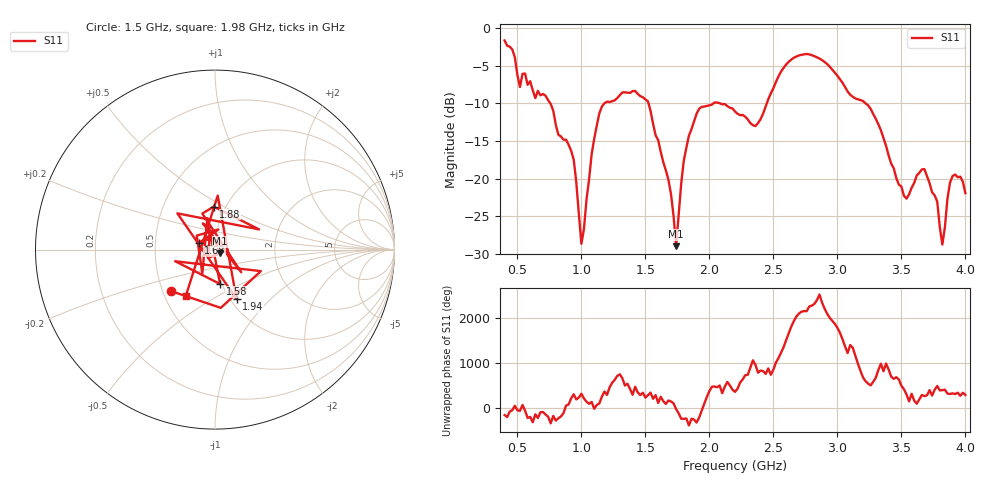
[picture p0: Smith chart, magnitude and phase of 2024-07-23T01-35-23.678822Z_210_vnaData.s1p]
!Created with skrf (http://scikit-rf.org).
# Hz S RI R 50.0
!freq ReS11 ImS11
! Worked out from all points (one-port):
!   181 points, 400 MHz to 4 GHz, reference 50 ohm
!   lowest |S11| = -29.0 dB at 1.74 GHz (marker M1), VSWR 1.07, Z = 52.9 - j2.25 ohm
!   |S11| at or under -10 dB: 757.3 MHz to 1.18 GHz (422.2 MHz wide, 43.6 % of centre); 1.524 GHz to 2.031 GHz (507.2 MHz wide, 28.5 % of centre); 3.22 GHz to end of sweep (the widest 3 of 4)
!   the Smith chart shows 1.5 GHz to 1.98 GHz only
!   S11 on the Smith chart (normalised r, x): 1.5 GHz: 0.55, -0.29; 1.58 GHz: 0.98, -0.39; 1.68 GHz: 0.83, +0.06; 1.88 GHz: 0.88, +0.45; 1.94 GHz: 1.07, -0.65; 1.98 GHz: 0.64, -0.36
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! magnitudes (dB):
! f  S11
! 400 MHz  -1.6
! 520 MHz  -7.8
! 720 MHz  -9.0
! 860 MHz  -14.8
! 940 MHz  -17.5
! 1 GHz  -28.7
! 1.14 GHz  -11.3
! 1.3 GHz  -8.9
! 1.5 GHz  -9.5
! 1.58 GHz  -14.3
! 1.68 GHz  -20.2
! 1.74 GHz  -29.0
! 1.76 GHz  -24.8
! 1.8 GHz  -17.6
! 1.88 GHz  -12.4
! 1.94 GHz  -10.5
! 1.98 GHz  -10.3
! 2.2 GHz  -11.1
! 2.36 GHz  -13.0
! 2.66 GHz  -3.9
! 3.1 GHz  -8.9
! 3.26 GHz  -10.7
! 3.56 GHz  -22.1
! 3.68 GHz  -18.7
! 3.78 GHz  -23.1
! 3.82 GHz  -28.8
! 3.9 GHz  -19.7
! 4 GHz  -21.9
